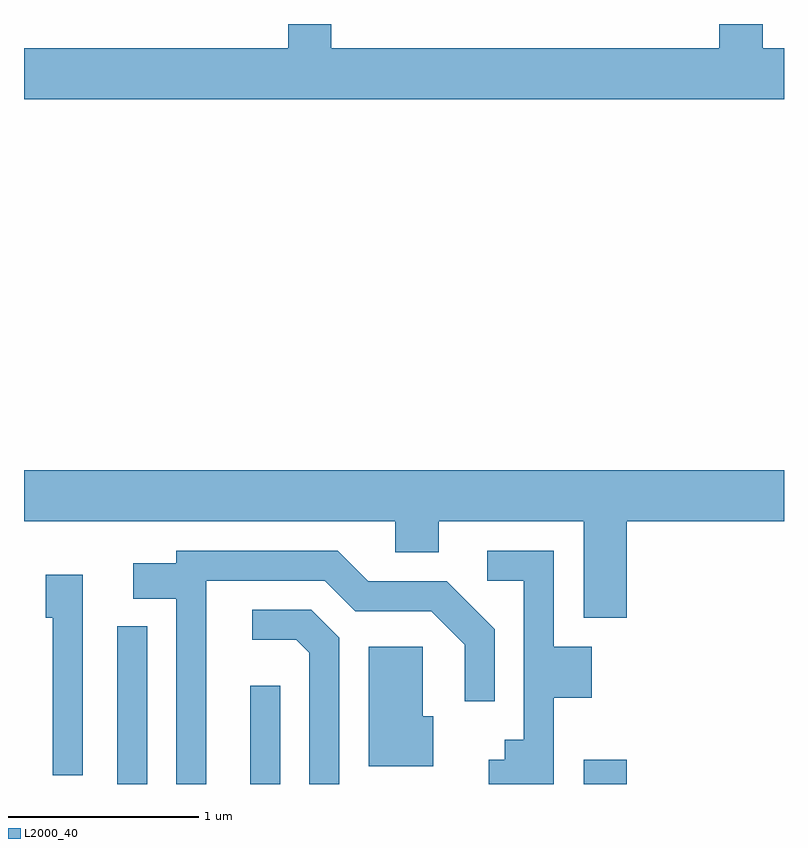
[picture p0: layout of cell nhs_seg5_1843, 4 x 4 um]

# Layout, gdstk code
import gdstk
lib = gdstk.Library(unit=1e-6, precision=1e-09)
def R(c, l, rs):  # rectangles x0, y0, x1, y1
    for r in rs: c.add(gdstk.rectangle(r[:2], r[2:], *l))
def P(c, l, *ps):  # polygons
    for p in ps: c.add(gdstk.Polygon(p, *l))
L2000_40 = (2000, 40)

nhs_seg5_1843 = lib.new_cell('nhs_seg5_1843')
R(nhs_seg5_1843, L2000_40, [(240.101,1462.072,240.259,1462.903), (240.801,1462.072,240.959,1462.588), (242.556,1462.072,242.784,1462.199)])
P(nhs_seg5_1843, L2000_40, [(243.611,1465.944),(243.499,1465.944),(243.499,1466.072),(243.271,1466.072),(243.271,1465.944),(241.229,1465.944),(241.229,1466.072),(241.001,1466.072),(241.001,1465.944),(239.611,1465.944),(239.611,1465.676),(243.611,1465.676)],
  [(242.784,1463.456),(243.611,1463.456),(243.611,1463.724),(239.611,1463.724),(239.611,1463.456),(241.566,1463.456),(241.566,1463.291),(241.794,1463.291),(241.794,1463.456),(242.556,1463.456),(242.556,1462.946),(242.784,1462.946)],
  [(240.569,1463.141),(241.194,1463.141),(241.354,1462.981),(241.754,1462.981),(241.931,1462.804),(241.931,1462.508),(242.089,1462.508),(242.089,1462.887),(241.837,1463.139),(241.422,1463.139),(241.262,1463.299),(240.411,1463.299),(240.411,1463.234),(240.186,1463.234),(240.186,1463.046),(240.411,1463.046),(240.411,1462.072),(240.569,1462.072)],
  [(242.399,1462.526),(242.599,1462.526),(242.599,1462.794),(242.399,1462.794),(242.399,1463.299),(242.048,1463.299),(242.048,1463.141),(242.241,1463.141),(242.241,1462.304),(242.141,1462.304),(242.141,1462.199),(242.056,1462.199),(242.056,1462.072),(242.399,1462.072)],
  [(239.919,1463.174),(239.726,1463.174),(239.726,1462.946),(239.761,1462.946),(239.761,1462.118),(239.919,1462.118)],
  [(241.269,1462.842),(241.122,1462.989),(240.813,1462.989),(240.813,1462.831),(241.044,1462.831),(241.111,1462.764),(241.111,1462.072),(241.269,1462.072)],
  [(241.764,1462.429),(241.709,1462.429),(241.709,1462.794),(241.426,1462.794),(241.426,1462.166),(241.764,1462.166)])

lib.write_gds('nhs_seg5_1843.gds')
